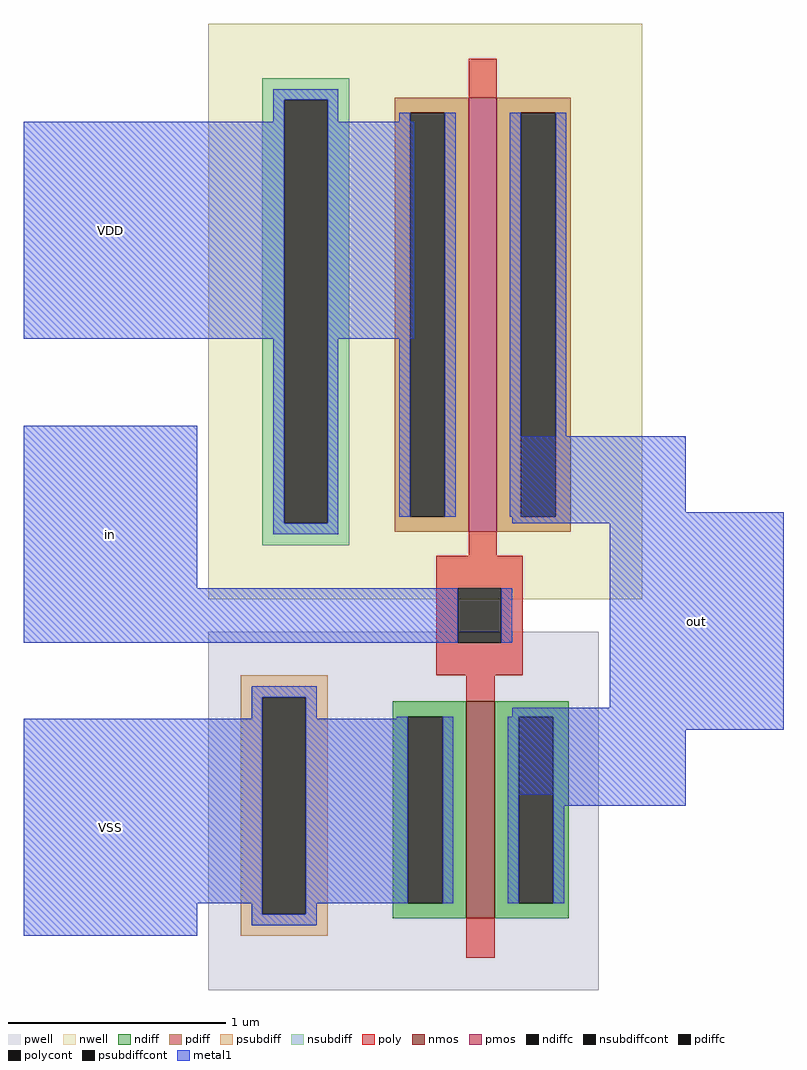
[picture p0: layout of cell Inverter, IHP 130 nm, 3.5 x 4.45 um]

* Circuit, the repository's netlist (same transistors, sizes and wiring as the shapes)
** sch_path: /headless/eda/Hall_Xschem_Logic/Inverter.sch
.subckt Inverter VDD in out VSS
*.PININFO VDD:B VSS:B in:B out:B
M1 out in VSS VSS sg13_lv_nmos w=1u l=0.13u ng=1
M2 out in VDD VDD sg13_lv_pmos w=2u l=0.13u ng=1
.ends

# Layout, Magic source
magic
tech ihp-sg13g2
magscale 1 2
<< nwell >>
rect 350 -1060 750 -530
<< pwell >>
rect 350 -1420 710 -1090
<< psubdiff >>
rect 380 -1150 460 -1130
rect 380 -1350 400 -1150
rect 440 -1350 460 -1150
rect 380 -1370 460 -1350
<< nsubdiff >>
rect 400 -600 480 -580
rect 400 -990 420 -600
rect 460 -990 480 -600
rect 400 -1010 480 -990
<< psubdiffcont >>
rect 400 -1350 440 -1150
<< nsubdiffcont >>
rect 420 -990 460 -600
<< poly >>
rect 560 -1050 640 -1020
rect 560 -1100 580 -1050
rect 620 -1100 640 -1050
rect 560 -1130 640 -1100
<< polycont >>
rect 580 -1100 620 -1050
<< metal1 >>
rect 410 -600 470 -590
rect 410 -620 420 -600
rect 180 -820 420 -620
rect 180 -1050 340 -900
rect 410 -990 420 -820
rect 460 -620 470 -600
rect 460 -820 540 -620
rect 460 -990 470 -820
rect 630 -980 790 -910
rect 630 -990 880 -980
rect 410 -1000 470 -990
rect 180 -1100 580 -1050
rect 620 -1100 630 -1050
rect 390 -1150 450 -1140
rect 390 -1170 400 -1150
rect 180 -1340 400 -1170
rect 180 -1370 340 -1340
rect 390 -1350 400 -1340
rect 440 -1170 450 -1150
rect 720 -1160 880 -990
rect 440 -1340 530 -1170
rect 630 -1180 880 -1160
rect 630 -1240 790 -1180
rect 670 -1250 790 -1240
rect 440 -1350 450 -1340
rect 390 -1360 450 -1350
use sg13_lv_nmos_B9AHNM  sg13_lv_nmos_B9AHNM_0
transform 1 0 601 0 1 -1254
box -81 -136 81 136
use sg13_lv_pmos_LD6KWR  sg13_lv_pmos_LD6KWR_0
transform 1 0 603 0 1 -798
box -143 -262 143 262
<< labels >>
flabel metal1 180 -1370 340 -1170 0 FreeSans 256 0 0 0 VSS
port 3 nsew
flabel metal1 180 -820 340 -620 0 FreeSans 256 0 0 0 VDD
port 0 nsew
flabel metal1 180 -1100 340 -900 0 FreeSans 256 0 0 0 in
port 1 nsew
flabel metal1 720 -1180 880 -980 0 FreeSans 256 0 0 0 out
port 2 nsew
<< end >>

# cell sg13_lv_nmos_B9AHNM: kit device sg13_lv_nmos, w 1 l 0.13 m 1 nf 1 diffcov 100 polycov 100 guard 0 glc 1 grc 1 gtc 1 gbc 0 tbcov 100 rlcov 100 topc 0 botc 0 poverlap 0 doverlap 1 lmin 0.13 wmin 0.15 class mosfet compatible {sg13_lv_nmos sg13_hv_nmos} full_metal 1 conn_gates 0 gate_ring 0 doports 1 viasrc 0 viadrn 0 viagate 0 ccols 1 viagb 0 viagr 0 viagl 0 viagt 0

# cell sg13_lv_pmos_LD6KWR: kit device sg13_lv_pmos, w 2 l 0.13 m 1 nf 1 diffcov 100 polycov 100 guard 0 glc 1 grc 1 gtc 1 gbc 1 tbcov 100 rlcov 100 topc 0 botc 0 poverlap 0 doverlap 1 lmin 0.13 wmin 0.15 class mosfet compatible {sg13_lv_pmos sg13_hv_pmos} full_metal 1 conn_gates 0 gate_ring 0 ccols 1 viasrc 0 viadrn 0 viagate 0 viagb 0 viagr 0 viagl 0 viagt 0 doports 1
